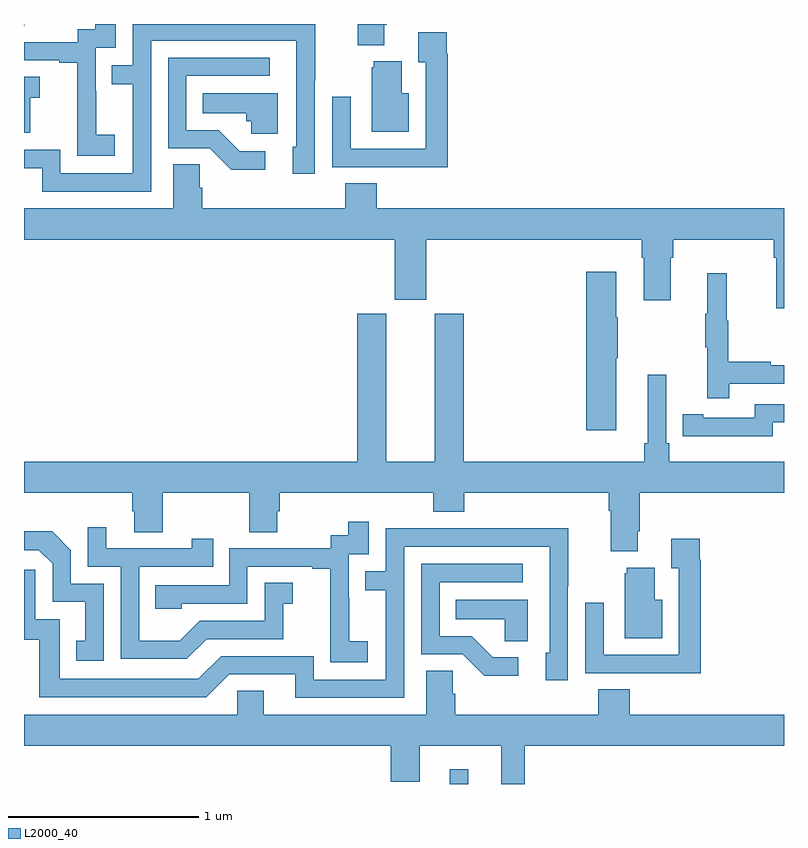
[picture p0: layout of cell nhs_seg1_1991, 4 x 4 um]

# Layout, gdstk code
import gdstk
lib = gdstk.Library(unit=1e-6, precision=1e-09)
def R(c, l, rs):  # rectangles x0, y0, x1, y1
    for r in rs: c.add(gdstk.rectangle(r[:2], r[2:], *l))
def P(c, l, *ps):  # polygons
    for p in ps: c.add(gdstk.Polygon(p, *l))
L2000_40 = (2000, 40)

nhs_seg1_1991 = lib.new_cell('nhs_seg1_1991')
R(nhs_seg1_1991, L2000_40, [(221.24,550.199,221.338,550.276), (219,554.188,219.001,554.199)])
P(nhs_seg1_1991, L2000_40, [(220.897,554.194),(220.91,554.194),(220.91,554.199),(220.757,554.199),(220.757,554.087),(220.897,554.087)],
  [(219.669,554.112),(220.433,554.112),(220.433,553.9),(220.434,553.9),(220.434,553.554),(220.415,553.554),(220.415,553.41),(220.53,553.41),(220.53,553.903),(220.533,553.903),(220.533,554.199),(219.573,554.199),(219.573,553.983),(219.463,553.983),(219.463,553.882),(219.573,553.882),(219.573,553.413),(219.192,553.413),(219.192,553.536),(219,553.536),(219,553.44),(219.095,553.44),(219.095,553.317),(219.669,553.317)],
  [(219.478,553.615),(219.38,553.615),(219.38,553.844),(219.378,553.844),(219.378,554.073),(219.483,554.073),(219.483,554.199),(219.375,554.199),(219.375,554.172),(219.282,554.172),(219.282,554.103),(219,554.103),(219,554.007),(219.185,554.007),(219.185,553.995),(219.281,553.995),(219.281,553.711),(219.28,553.711),(219.28,553.505),(219.478,553.505)],
  [(221.231,554.042),(221.224,554.042),(221.224,554.155),(221.075,554.155),(221.075,553.999),(221.115,553.999),(221.115,553.542),(220.719,553.542),(220.719,553.816),(220.623,553.816),(220.623,553.446),(220.939,553.446),(220.939,553.445),(221.231,553.445)],
  [(220.27,553.53),(220.135,553.53),(220.024,553.641),(219.855,553.641),(219.855,553.926),(220.294,553.926),(220.294,554.022),(219.759,554.022),(219.759,553.545),(219.978,553.545),(220.091,553.433),(220.27,553.433)],
  [(221.026,553.834),(220.987,553.834),(220.987,554.002),(220.841,554.002),(220.841,553.971),(220.829,553.971),(220.829,553.631),(221.026,553.631)],
  [(219.033,553.811),(219.082,553.811),(219.082,553.921),(219,553.921),(219,553.626),(219.033,553.626)],
  [(220.336,553.834),(219.94,553.834),(219.94,553.73),(220.171,553.73),(220.171,553.686),(220.197,553.686),(220.197,553.622),(220.336,553.622)],
  [(223,553.228),(220.856,553.228),(220.856,553.361),(220.691,553.361),(220.691,553.228),(219.938,553.228),(219.938,553.337),(219.924,553.337),(219.924,553.46),(219.785,553.46),(219.785,553.228),(219,553.228),(219,553.064),(220.952,553.064),(220.952,552.747),(221.116,552.747),(221.116,553.064),(222.251,553.064),(222.251,552.968),(222.263,552.968),(222.263,552.744),(222.403,552.744),(222.403,552.968),(222.416,552.968),(222.416,553.064),(222.947,553.064),(222.947,552.968),(222.959,552.968),(222.959,552.702),(223,552.702)],
  [(222.118,552.439),(222.126,552.439),(222.126,552.656),(222.118,552.656),(222.118,552.895),(221.96,552.895),(221.96,552.06),(222.118,552.06)],
  [(222.713,552.306),(223,552.306),(223,552.402),(222.929,552.402),(222.929,552.422),(222.706,552.422),(222.706,552.636),(222.698,552.636),(222.698,552.886),(222.596,552.886),(222.596,552.673),(222.585,552.673),(222.585,552.499),(222.596,552.499),(222.596,552.228),(222.713,552.228)],
  [(222.229,551.53),(222.242,551.53),(222.242,551.732),(223,551.732),(223,551.896),(222.395,551.896),(222.395,551.992),(222.381,551.992),(222.381,552.352),(222.284,552.352),(222.284,551.992),(222.265,551.992),(222.265,551.896),(221.315,551.896),(221.315,552.675),(221.162,552.675),(221.162,551.896),(220.906,551.896),(220.906,552.675),(220.754,552.675),(220.754,551.896),(219,551.896),(219,551.732),(219.569,551.732),(219.569,551.634),(219.581,551.634),(219.581,551.524),(219.729,551.524),(219.729,551.732),(220.186,551.732),(220.186,551.524),(220.333,551.524),(220.333,551.634),(220.346,551.634),(220.346,551.732),(221.153,551.732),(221.153,551.633),(221.318,551.633),(221.318,551.732),(222.077,551.732),(222.077,551.636),(222.089,551.636),(222.089,551.423),(222.229,551.423)],
  [(222.942,552.102),(223,552.102),(223,552.198),(222.846,552.198),(222.846,552.126),(222.574,552.126),(222.574,552.146),(222.466,552.146),(222.466,552.03),(222.574,552.03),(222.574,552.029),(222.942,552.029)],
  [(220.81,550.951),(220.712,550.951),(220.712,551.18),(220.71,551.18),(220.71,551.409),(220.815,551.409),(220.815,551.578),(220.707,551.578),(220.707,551.508),(220.614,551.508),(220.614,551.439),(220.08,551.439),(220.08,551.244),(219.691,551.244),(219.691,551.121),(219.831,551.121),(219.831,551.148),(220.176,551.148),(220.176,551.343),(220.517,551.343),(220.517,551.331),(220.613,551.331),(220.613,551.047),(220.612,551.047),(220.612,550.841),(220.81,550.841)],
  [(219.961,550.962),(220.365,550.962),(220.365,551.147),(220.414,551.147),(220.414,551.257),(220.266,551.257),(220.266,551.058),(219.924,551.058),(219.82,550.954),(219.606,550.954),(219.606,551.343),(219.995,551.343),(219.995,551.491),(219.884,551.491),(219.884,551.439),(219.433,551.439),(219.433,551.551),(219.336,551.551),(219.336,551.343),(219.51,551.343),(219.51,550.857),(219.856,550.857)],
  [(221.001,551.448),(221.766,551.448),(221.766,550.89),(221.747,550.89),(221.747,550.746),(221.862,550.746),(221.862,551.239),(221.865,551.239),(221.865,551.546),(221.401,551.546),(221.401,551.544),(220.905,551.544),(220.905,551.319),(220.795,551.319),(220.795,551.218),(220.905,551.218),(220.905,550.749),(220.524,550.749),(220.524,550.872),(220.038,550.872),(219.918,550.752),(219.189,550.752),(219.189,551.067),(219.06,551.067),(219.06,551.326),(219,551.326),(219,550.959),(219.081,550.959),(219.081,550.656),(219.96,550.656),(220.08,550.776),(220.427,550.776),(220.427,550.653),(221.001,550.653)],
  [(219.42,551.253),(219.246,551.253),(219.246,551.43),(219.148,551.528),(219,551.528),(219,551.43),(219.078,551.43),(219.15,551.358),(219.15,551.157),(219.323,551.157),(219.323,550.953),(219.274,550.953),(219.274,550.848),(219.42,550.848)],
  [(222.563,551.378),(222.556,551.378),(222.556,551.491),(222.407,551.491),(222.407,551.335),(222.447,551.335),(222.447,550.878),(222.051,550.878),(222.051,551.152),(221.955,551.152),(221.955,550.782),(222.271,550.782),(222.271,550.781),(222.563,550.781)],
  [(221.602,550.866),(221.467,550.866),(221.356,550.977),(221.187,550.977),(221.187,551.262),(221.626,551.262),(221.626,551.358),(221.091,551.358),(221.091,550.881),(221.31,550.881),(221.423,550.769),(221.602,550.769)],
  [(222.358,551.17),(222.319,551.17),(222.319,551.338),(222.173,551.338),(222.173,551.307),(222.161,551.307),(222.161,550.967),(222.358,550.967)],
  [(221.65,551.17),(221.272,551.17),(221.272,551.066),(221.529,551.066),(221.529,550.951),(221.65,550.951)],
  [(221.635,550.4),(223,550.4),(223,550.564),(222.188,550.564),(222.188,550.697),(222.023,550.697),(222.023,550.564),(221.27,550.564),(221.27,550.673),(221.256,550.673),(221.256,550.796),(221.117,550.796),(221.117,550.564),(220.261,550.564),(220.261,550.691),(220.122,550.691),(220.122,550.564),(219,550.564),(219,550.4),(220.931,550.4),(220.931,550.21),(221.083,550.21),(221.083,550.4),(221.513,550.4),(221.513,550.199),(221.635,550.199)])

lib.write_gds('nhs_seg1_1991.gds')
